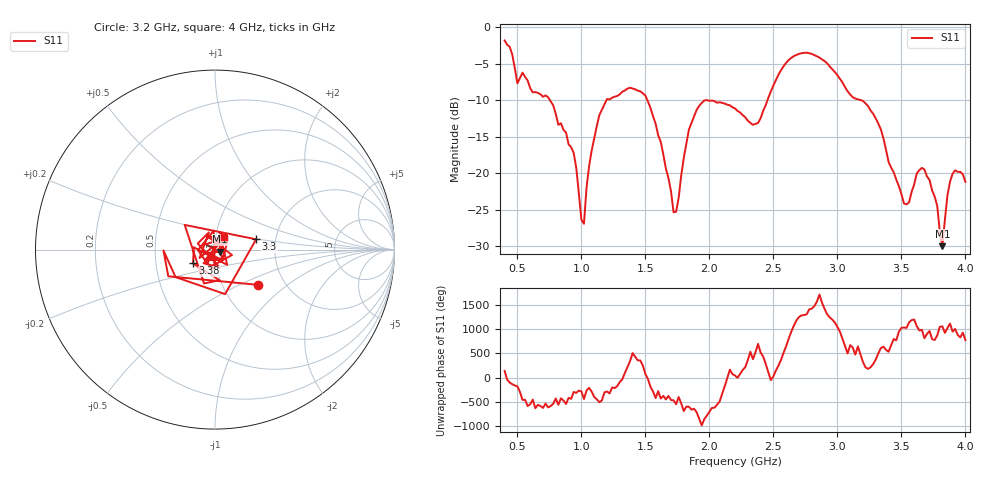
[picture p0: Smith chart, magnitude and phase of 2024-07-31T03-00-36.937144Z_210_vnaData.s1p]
!Created with skrf (http://scikit-rf.org).
# Hz S RI R 50.0
!freq ReS11 ImS11
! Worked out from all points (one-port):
!   181 points, 400 MHz to 4 GHz, reference 50 ohm
!   lowest |S11| = -30.0 dB at 3.82 GHz (marker M1), VSWR 1.07, Z = 53 - j1.16 ohm
!   |S11| at or under -10 dB: 753.4 MHz to 1.196 GHz (442.9 MHz wide, 45.4 % of centre); 1.515 GHz to 2.454 GHz (939.3 MHz wide, 47.3 % of centre); 3.181 GHz to end of sweep
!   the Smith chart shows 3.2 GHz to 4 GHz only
!   S11 on the Smith chart (normalised r, x): 3.2 GHz: 1.47, -0.64; 3.3 GHz: 1.58, +0.19; 3.38 GHz: 0.77, -0.12; 4 GHz: 1.10, +0.16
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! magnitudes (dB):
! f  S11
! 400 MHz  -1.8
! 500 MHz  -7.7
! 740 MHz  -9.6
! 860 MHz  -14.1
! 940 MHz  -17.3
! 1.02 GHz  -27.0
! 1.06 GHz  -19.1
! 1.14 GHz  -12.1
! 1.3 GHz  -9.2
! 1.5 GHz  -9.4
! 1.62 GHz  -15.7
! 1.72 GHz  -25.4
! 1.76 GHz  -23.4
! 1.84 GHz  -14.0
! 1.92 GHz  -10.8
! 2.2 GHz  -11.1
! 2.38 GHz  -13.1
! 2.66 GHz  -4.0
! 3.1 GHz  -9.2
! 3.2 GHz  -10.1
! 3.3 GHz  -12.5
! 3.38 GHz  -16.8
! 3.56 GHz  -24.0
! 3.68 GHz  -19.5
! 3.78 GHz  -24.5
! 3.82 GHz  -30.0
! 3.9 GHz  -20.1
! 4 GHz  -21.2
